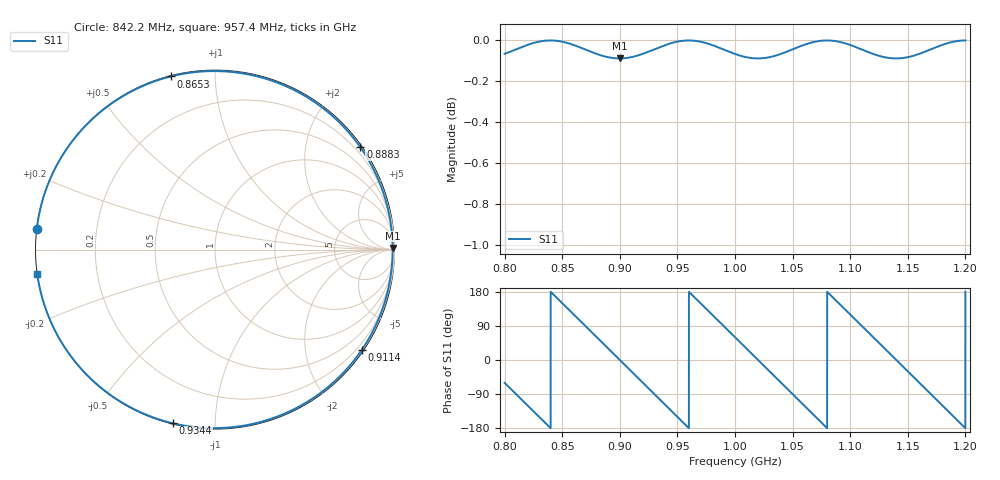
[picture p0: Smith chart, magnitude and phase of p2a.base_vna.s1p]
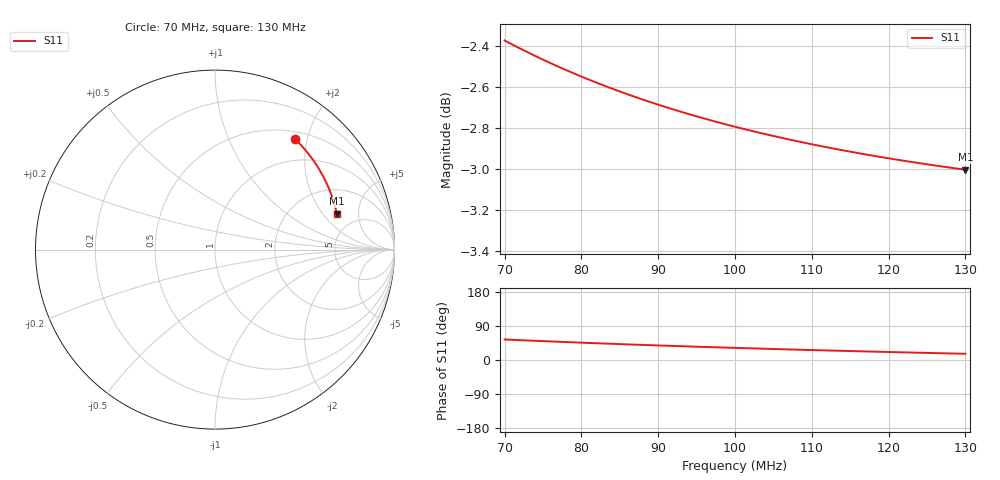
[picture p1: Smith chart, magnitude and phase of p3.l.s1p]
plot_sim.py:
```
# %%
from matplotlib import pyplot as plt
import numpy as np
import skrf as rf
from skrf import Network
# %%
def plot_data(network):
    fig, axes = plt.subplots(1,3, figsize=(12,3), layout="constrained")
    network.plot_s_db(ax=axes[0], linewidth=3)
    network.plot_s_deg(ax=axes[1], linewidth=3)
    network.plot_s_smith(ax=axes[2], linewidth=3)
# %%
### UNCALIBRATED
# %%
base_vna = Network('schematics/p2a.base_vna.s1p')
base_vna.plot_s_smith(linewidth=3)
# %%
vna_open = Network('schematics/p2a.vna_open.s1p')
# vna_open.s *= np.exp(1j * 60 * np.pi/180)
vna_open.plot_s_smith(linewidth=3)
# vna_open.plot_s_deg()
# %%
vna_matched = Network('schematics/p2a.vna_matched.s1p')
vna_matched.plot_s_smith(linewidth=3)
# %%
vna_short = Network('schematics/p2a.vna_short.s1p')
# vna_short.s *= np.exp(1j * 60 * np.pi/180)
vna_short.plot_s_smith(linewidth=3)
# vna_short.plot_s_deg()
# %%
vna_short_10m = Network('schematics/p2a.vna_short.10m.s1p')
vna_short_10m.s = vna_short_10m.s * np.expand_dims(np.linspace(1, 0.9, vna_short_10m.s.shape[0]), (1,2))
vna_short_10m.plot_s_smith(linewidth=2)
# %%
### CALIBRATED
# %%
vna_open = Network('schematics/p2a.vna_open.s1p')
phase_compensation = - np.exp(1j * (-2 * vna_open.f * 2*np.pi)/(3e8*0.8))
vna_open.s /= np.expand_dims(phase_compensation, (1,2))
plot_data(vna_open)
# %%
vna_matched = Network('schematics/p2a.vna_matched.s1p')
phase_compensation = - np.exp(1j * (-2 * vna_matched.f * 2*np.pi)/(3e8*0.8))
vna_matched.s /= np.expand_dims(phase_compensation, (1,2))
plot_data(vna_matched)
# %%
vna_short = Network('schematics/p2a.vna_short.s1p')
phase_compensation = - np.exp(1j * (-2 * vna_short.f * 2*np.pi)/(3e8*0.8))
vna_short.s /= np.expand_dims(phase_compensation, (1,2))
plot_data(vna_short)
# %%
vna_short_10m = Network('schematics/p2a.vna_short.10m.s1p')
phase_compensation = - np.exp(1j * 10 * (-2 * vna_short_10m.f * 2*np.pi)/(3e8*0.8))
vna_short_10m.s /= np.expand_dims(phase_compensation, (1,2))
plot_data(vna_short_10m)
# %%
lmatch_none = Network('l_match/p3.no_match.s1p')
lmatch_none.plot_s_smith(linewidth=3)
# %%
lmatch_l = Network('l_match/p3.l.s1p')
lmatch_l.plot_s_smith(linewidth=3)
# %%
lmatch_lc = Network('l_match/p3.lc.s1p')
lmatch_lc.plot_s_smith(linewidth=3)
# %%
lmatch_lc_parasitic = Network('l_match/p3.lc_parasitic.s1p')
lmatch_lc_parasitic.plot_s_smith()
# %%
t_match = Network('t_match/p5.t_match.s1p')
# t_match.plot_s_smith()
plot_data(t_match)
# %%
```
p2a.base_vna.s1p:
# Hz S RI R 50
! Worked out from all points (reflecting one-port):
!   10000 points, 800 MHz to 1.2 GHz, reference 50 ohm
!   lowest |S11| = -0.1 dB at 899.8 MHz (marker M1), VSWR 191.34, Z = 5.05e+03 + j4.78e+03 ohm
!   phase of S11 starts at -60 deg and turns -1200 deg over the sweep
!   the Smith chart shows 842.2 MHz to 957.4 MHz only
!   S11 on the Smith chart (normalised r, x): 842.2 MHz: 0.00, +0.06; 865.3 MHz: 0.00, +0.78; 888.3 MHz: 0.05, +3.15; 911.4 MHz: 0.05, -3.24; 934.4 MHz: 0.00, -0.79; 957.4 MHz: 0.00, -0.07
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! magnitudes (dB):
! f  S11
! 800 MHz  -0.1
! 842.2 MHz  0.0
! 865.3 MHz  0.0
! 888.3 MHz  -0.1
! 899.8 MHz  -0.1
! 911.4 MHz  -0.1
! 933.3 MHz  0.0
! 934.4 MHz  0.0
! 957.4 MHz  0.0
! 1.019 GHz  -0.1
! 1.067 GHz  0.0
! 1.089 GHz  0.0
! 1.14 GHz  -0.1
! 1.2 GHz  0.0
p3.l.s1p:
# Hz S RI R 50
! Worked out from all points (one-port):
!   100 points, 70 MHz to 130 MHz, reference 50 ohm
!   lowest |S11| = -3.0 dB at 130 MHz (marker M1), VSWR 5.84, Z = 174 + j140 ohm
!   |S11| at or under -10 dB: nowhere
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7e7  0.4451 0.617
7.242424e7  0.4656 0.5965
7.484848e7  0.4846 0.5762
7.969697e7  0.5184 0.5364
8.454545e7  0.5474 0.4978
9e7  0.575 0.4561
9.484848e7  0.5959 0.4204
9.969697e7  0.6138 0.3861
1.045455e8  0.6291 0.3532
1.1e8  0.6437 0.3177
1.148485e8  0.6546 0.2874
1.19697e8  0.6639 0.2583
1.245455e8  0.6717 0.2303
1.3e8  0.6789 0.2
